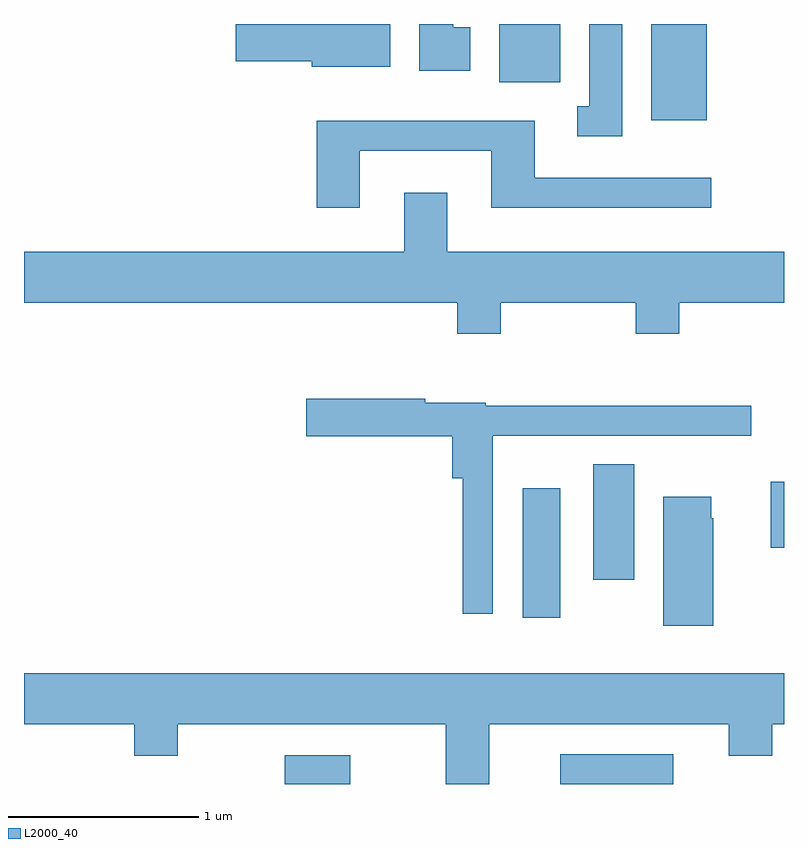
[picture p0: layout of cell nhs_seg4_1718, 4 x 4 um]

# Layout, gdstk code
import gdstk
lib = gdstk.Library(unit=1e-6, precision=1e-09)
def R(c, l, rs):  # rectangles x0, y0, x1, y1
    for r in rs: c.add(gdstk.rectangle(r[:2], r[2:], *l))
def P(c, l, *ps):  # polygons
    for p in ps: c.add(gdstk.Polygon(p, *l))
L2000_40 = (2000, 40)

nhs_seg4_1718 = lib.new_cell('nhs_seg4_1718')
R(nhs_seg4_1718, L2000_40, [(236.983,1289.982,237.329,1290.134), (238.433,1289.982,239.029,1290.139), (238.236,1290.856,238.434,1291.539), (238.606,1291.056,238.824,1291.664), (239.541,1291.226,239.611,1291.574), (238.911,1293.476,239.204,1293.982), (238.111,1293.676,238.434,1293.982)])
P(nhs_seg4_1718, L2000_40, [(238.759,1293.982),(238.586,1293.982),(238.586,1293.549),(238.523,1293.549),(238.523,1293.391),(238.759,1293.391)],
  [(237.539,1293.982),(236.726,1293.982),(236.726,1293.786),(237.126,1293.786),(237.126,1293.756),(237.539,1293.756)],
  [(237.959,1293.964),(237.869,1293.964),(237.869,1293.982),(237.691,1293.982),(237.691,1293.736),(237.959,1293.736)],
  [(237.379,1293.316),(238.071,1293.316),(238.071,1293.016),(239.228,1293.016),(239.228,1293.174),(238.299,1293.174),(238.299,1293.474),(237.151,1293.474),(237.151,1293.016),(237.379,1293.016)],
  [(238.119,1292.516),(238.831,1292.516),(238.831,1292.351),(239.059,1292.351),(239.059,1292.516),(239.611,1292.516),(239.611,1292.784),(237.839,1292.784),(237.839,1293.094),(237.611,1293.094),(237.611,1292.784),(235.611,1292.784),(235.611,1292.516),(237.891,1292.516),(237.891,1292.351),(238.119,1292.351)],
  [(238.079,1291.816),(239.438,1291.816),(239.438,1291.974),(238.04,1291.974),(238.04,1291.989),(237.724,1291.989),(237.724,1292.009),(237.096,1292.009),(237.096,1291.811),(237.866,1291.811),(237.866,1291.591),(237.921,1291.591),(237.921,1290.878),(238.079,1290.878)],
  [(239.239,1291.38),(239.229,1291.38),(239.229,1291.494),(238.976,1291.494),(238.976,1290.816),(239.239,1290.816)],
  [(238.059,1290.296),(239.321,1290.296),(239.321,1290.131),(239.549,1290.131),(239.549,1290.296),(239.611,1290.296),(239.611,1290.564),(235.611,1290.564),(235.611,1290.296),(236.191,1290.296),(236.191,1290.131),(236.419,1290.131),(236.419,1290.296),(237.831,1290.296),(237.831,1289.982),(238.059,1289.982)])

lib.write_gds('nhs_seg4_1718.gds')
